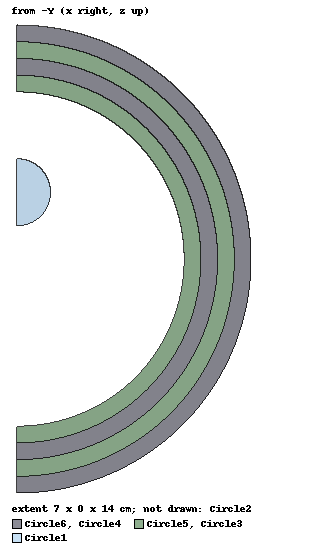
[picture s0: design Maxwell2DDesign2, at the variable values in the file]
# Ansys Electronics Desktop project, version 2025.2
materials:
  vacuum: permittivity=1
  Sphere_J: permeability=1
  Ext1: permeability=0.801713
  Ext2: permeability=2.88849
  Ext3: permeability=0.163862
  Ext4: permeability=37.8756

design Maxwell2DDesign2 (Maxwell 2D, Magnetostatic, about Z geometry, model units cm)
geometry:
  Circle1 [vacuum] = circle(normal=Y, centre=(0cm, 0cm, 2cm), radius=1cm)
  Circle2 [vacuum] = circle(normal=Y, centre=(0cm, 0cm, 0cm), radius=5cm)
  Circle3 [Ext1] = circle(normal=Y, centre=(0cm, 0cm, 0cm), radius=5.5cm)
  Circle4 [Ext2] = circle(normal=Y, centre=(0cm, 0cm, 0cm), radius=6cm)
  Circle5 [Ext3] = circle(normal=Y, centre=(0cm, 0cm, 0cm), radius=6.5cm)
  Circle6 [Ext4] = circle(normal=Y, centre=(0cm, 0cm, 0cm), radius=7cm)
  Circle5_1 = Circle5.copy()
  Circle6.subtract(Circle5_1)
  Circle4_1 = Circle4.copy()
  Circle5.subtract(Circle4_1)
  Circle3_1 = Circle3.copy()
  Circle4.subtract(Circle3_1)
  Circle2_1 = Circle2.copy()
  Circle3.subtract(Circle2_1)
  Circle1_1 = Circle1.copy()
  Circle2.subtract(Circle1_1)
  [Circle6, Circle5, Circle4, Circle3, Circle2, Circle1].split(plane=YZ, keep=PositiveOnly)
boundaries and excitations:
  VectorPotentialInf: Vector Potential Edges=Circle6.edge(at (7, 0, 0)) Value=0
  CurrentDensityK: Current Density Edges=Circle2.edge(at (1, 0, 2)) Value=8.8541878188E-5*X CoordinateSystem=Global
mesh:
  initial mesh: GlobalSurfApproximation{CurvedSurfaceApproxChoice=UseSlider SliderMeshSettings=9}
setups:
  Setup1: Magnetostatic MaximumPasses=15 MinimumPasses=2 MinimumConvergedPasses=1 PercentRefinement=30 PercentError=1e-06 NonLinearResidual=0.0001
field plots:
  Mag_B1, Mag_B2: B over Circle1.face(at (0.503, 0, 2)) Circle2.face(at (2.515, 0, 0)) on Setup1 : LastAdaptive
